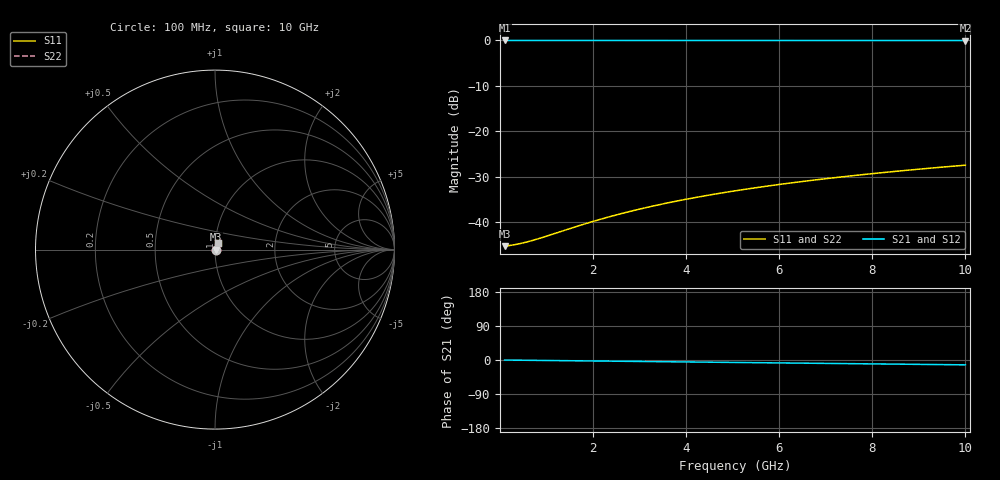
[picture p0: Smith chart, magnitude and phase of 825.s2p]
# Hz S RI R 50.00
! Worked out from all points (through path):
!   100 points, 100 MHz to 10 GHz, reference 50 ohm
!   highest |S21| = -0.05 dB at 100 MHz (marker M1); lowest = -0.1 dB at 10 GHz (marker M2)
!   group delay of S21, straight-line fit = 3.56 ps
!   lowest |S11| = -45.3 dB at 100 MHz (marker M3), VSWR 1.01, Z = 50.5 + j0.0415 ohm
!   |S11| at or under -10 dB: start of sweep to end of sweep
!   |S22| runs from -45.3 to -27.5 dB; largest |S21 - S12| = 0
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1e8  0.00542 0.00041  0.9946 -0.00222  0.9946 -0.00222  0.00542 0.00041
3e8  0.00549 0.00123  0.9945 -0.00666  0.9945 -0.00666  0.00549 0.00123
4e8  0.00551 0.00164  0.9945 -0.00889  0.9945 -0.00889  0.00551 0.00164
5e8  0.00554 0.00205  0.9944 -0.0111  0.9944 -0.0111  0.00554 0.00205
7e8  0.00559 0.00287  0.9943 -0.0155  0.9943 -0.0155  0.00559 0.00287
1e9  0.00567 0.0041  0.9941 -0.0222  0.9941 -0.0222  0.00567 0.0041
1.8e9  0.00595 0.00737  0.9935 -0.04  0.9935 -0.04  0.00595 0.00737
2.2e9  0.00612 0.009  0.993 -0.0488  0.993 -0.0488  0.00612 0.009
2.6e9  0.00632 0.0106  0.9925 -0.0577  0.9925 -0.0577  0.00632 0.0106
3e9  0.00655 0.0122  0.9919 -0.0666  0.9919 -0.0666  0.00655 0.0122
3.4e9  0.0068 0.0139  0.9912 -0.0754  0.9912 -0.0754  0.0068 0.0139
3.8e9  0.00709 0.0155  0.9905 -0.0843  0.9905 -0.0843  0.00709 0.0155
4.2e9  0.0074 0.0171  0.9896 -0.0931  0.9896 -0.0931  0.0074 0.0171
4.6e9  0.00774 0.0187  0.9887 -0.1019  0.9887 -0.1019  0.00774 0.0187
5.1e9  0.0082 0.0207  0.9874 -0.113  0.9874 -0.113  0.0082 0.0207
5.5e9  0.00861 0.0223  0.9863 -0.1218  0.9863 -0.1218  0.00861 0.0223
5.9e9  0.00904 0.0239  0.9851 -0.1306  0.9851 -0.1306  0.00904 0.0239
6.7e9  0.00999 0.027  0.9825 -0.1482  0.9825 -0.1482  0.00999 0.027
7.5e9  0.011 0.0301  0.9796 -0.1657  0.9796 -0.1657  0.011 0.0301
8.4e9  0.0124 0.0335  0.9759 -0.1853  0.9759 -0.1853  0.0124 0.0335
9.2e9  0.0137 0.0365  0.9722 -0.2027  0.9722 -0.2027  0.0137 0.0365
1e10  0.0151 0.0395  0.9683 -0.22  0.9683 -0.22  0.0151 0.0395
